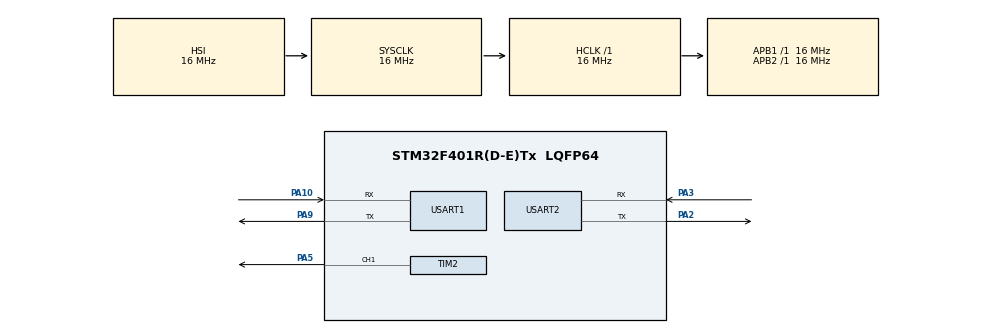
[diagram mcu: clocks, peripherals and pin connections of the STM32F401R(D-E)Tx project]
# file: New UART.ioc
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Mcu.Family=STM32F4
Mcu.Name=STM32F401R(D-E)Tx
Mcu.Package=LQFP64
NVIC.PriorityGroup=NVIC_PRIORITYGROUP_4
PA10.Mode=Asynchronous
PA10.Signal=USART1_RX
PA2.Mode=Asynchronous
PA2.Signal=USART2_TX
PA3.Mode=Asynchronous
PA3.Signal=USART2_RX
PA5.Signal=S_TIM2_CH1_ETR
PA9.Mode=Asynchronous
PA9.Signal=USART1_TX
ProjectManager.HeapSize=0x200
ProjectManager.StackSize=0x400
ProjectManager.TargetToolchain=STM32CubeIDE
RCC.AHBFreq_Value=16000000
RCC.APB1Freq_Value=16000000
RCC.APB2Freq_Value=16000000
RCC.CortexFreq_Value=16000000
RCC.HSE_VALUE=25000000
RCC.HSI_VALUE=16000000
RCC.LSE_VALUE=32768
RCC.SYSCLKFreq_VALUE=16000000
RCC.VCOOutputFreq_Value=192000000
SH.S_TIM2_CH1_ETR.0=TIM2_CH1,PWM Generation1 CH1
TIM2.Channel-PWM\ Generation1\ CH1=TIM_CHANNEL_1
TIM2.Period=255
USART1.VirtualMode=VM_ASYNC
USART2.VirtualMode=VM_ASYNC
board=custom

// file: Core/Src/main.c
/* USER CODE BEGIN Header */
/* USER CODE END Header */
#include "main.h"

/* USER CODE BEGIN PM */

#define MIN(X, Y) (((X) < (Y)) ? (X) : Y)
#define MAX(X, Y) ((X) > (Y) ? (X) : Y);

/* USER CODE END PM */

TIM_HandleTypeDef htim2;

UART_HandleTypeDef huart1;
UART_HandleTypeDef huart2;

void SystemClock_Config(void);
static void MX_GPIO_Init(void);
static void MX_USART1_UART_Init(void);
static void MX_TIM2_Init(void);
static void MX_USART2_UART_Init(void);

/* USER CODE BEGIN 0 */
uint8_t rx_buff[8];
float float1, float2;
extern TIM_HandleTypeDef htim2;

float rec[5] = {0, 0, 0, 0, 0};
float avg;
int count = 0;
char msg[50];
void set_pwm_duty_cycle(){

	avg = 0;
	for (int i = 0 ; i < 5 ; ++i) {
		avg += rec[i];
	}
	avg /= 5;

	float duty_cycle = 100 - MAX(0.0, MIN(100.0, (avg)));

    sprintf(msg, ", Duty cycle: %.2f\r\n", duty_cycle);

	int conv = (int)(duty_cycle * 2.55);

	__HAL_TIM_SET_COMPARE(&htim2, TIM_CHANNEL_1, conv);

}

/* USER CODE END 0 */

int main(void)
{

  /* MCU Configuration--------------------------------------------------------*/

  /* Reset of all peripherals, Initializes the Flash interface and the Systick. */
  HAL_Init();

  /* Configure the system clock */
  SystemClock_Config();

  /* Initialize all configured peripherals */
  MX_GPIO_Init();
  MX_USART1_UART_Init();
  MX_TIM2_Init();
  MX_USART2_UART_Init();
  /* USER CODE BEGIN 2 */
  HAL_TIM_PWM_Start(&htim2, TIM_CHANNEL_1);
  /* USER CODE END 2 */

  /* Infinite loop */
  /* USER CODE BEGIN WHILE */
  /* Infinite loop */
  /* USER CODE BEGIN WHILE */
  while (1)
  {
    /* USER CODE END WHILE */

    /* USER CODE BEGIN 3 */
    if(HAL_UART_Receive(&huart1, rx_buff, 8, 50)==HAL_OK) //if transfer is successful
    {
      __NOP(); //You need to toggle a breakpoint on this line!
      sprintf(msg, "8 Bits Received over UART1\r\n");
      HAL_UART_Transmit(&huart2, (uint8_t *)msg, strlen(msg), HAL_MAX_DELAY);
    } else {
      __NOP();
    }
//    HAL_UART_Transmit(&huart2, (uint8_t *)msg1, strlen(msg1), HAL_MAX_DELAY);

    memcpy(&float1, &rx_buff[0], sizeof(float));
    memcpy(&float2, &rx_buff[4], sizeof(float));

    count %= 5;
    rec[count] = MIN(float1, float2);
    sprintf(msg, "Min distance: %.2f", rec[count]);
    HAL_UART_Transmit(&huart2, (uint8_t *)msg, strlen(msg), HAL_MAX_DELAY);
    count++;

    set_pwm_duty_cycle();
    HAL_UART_Transmit(&huart2, (uint8_t *)msg, strlen(msg), HAL_MAX_DELAY);
  }
  /* USER CODE END 3 */
}

void SystemClock_Config(void)
{
  RCC_OscInitTypeDef RCC_OscInitStruct = {0};
  RCC_ClkInitTypeDef RCC_ClkInitStruct = {0};

  /** Configure the main internal regulator output voltage
  */
  __HAL_RCC_PWR_CLK_ENABLE();
  __HAL_PWR_VOLTAGESCALING_CONFIG(PWR_REGULATOR_VOLTAGE_SCALE2);

  /** Initializes the RCC Oscillators according to the specified parameters
  * in the RCC_OscInitTypeDef structure.
  */
  RCC_OscInitStruct.OscillatorType = RCC_OSCILLATORTYPE_HSI;
  RCC_OscInitStruct.HSIState = RCC_HSI_ON;
  RCC_OscInitStruct.HSICalibrationValue = RCC_HSICALIBRATION_DEFAULT;
  RCC_OscInitStruct.PLL.PLLState = RCC_PLL_NONE;
  if (HAL_RCC_OscConfig(&RCC_OscInitStruct) != HAL_OK)
  {
    Error_Handler();
  }

  /** Initializes the CPU, AHB and APB buses clocks
  */
  RCC_ClkInitStruct.ClockType = RCC_CLOCKTYPE_HCLK|RCC_CLOCKTYPE_SYSCLK
                              |RCC_CLOCKTYPE_PCLK1|RCC_CLOCKTYPE_PCLK2;
  RCC_ClkInitStruct.SYSCLKSource = RCC_SYSCLKSOURCE_HSI;
  RCC_ClkInitStruct.AHBCLKDivider = RCC_SYSCLK_DIV1;
  RCC_ClkInitStruct.APB1CLKDivider = RCC_HCLK_DIV1;
  RCC_ClkInitStruct.APB2CLKDivider = RCC_HCLK_DIV1;

  if (HAL_RCC_ClockConfig(&RCC_ClkInitStruct, FLASH_LATENCY_0) != HAL_OK)
  {
    Error_Handler();
  }
}

static void MX_TIM2_Init(void)
{

  TIM_MasterConfigTypeDef sMasterConfig = {0};
  TIM_OC_InitTypeDef sConfigOC = {0};

  htim2.Instance = TIM2;
  htim2.Init.Prescaler = 0;
  htim2.Init.CounterMode = TIM_COUNTERMODE_UP;
  htim2.Init.Period = 255;
  htim2.Init.ClockDivision = TIM_CLOCKDIVISION_DIV1;
  htim2.Init.AutoReloadPreload = TIM_AUTORELOAD_PRELOAD_DISABLE;
  if (HAL_TIM_PWM_Init(&htim2) != HAL_OK)
  {
    Error_Handler();
  }
  sMasterConfig.MasterOutputTrigger = TIM_TRGO_RESET;
  sMasterConfig.MasterSlaveMode = TIM_MASTERSLAVEMODE_DISABLE;
  if (HAL_TIMEx_MasterConfigSynchronization(&htim2, &sMasterConfig) != HAL_OK)
  {
    Error_Handler();
  }
  sConfigOC.OCMode = TIM_OCMODE_PWM1;
  sConfigOC.Pulse = 0;
  sConfigOC.OCPolarity = TIM_OCPOLARITY_HIGH;
  sConfigOC.OCFastMode = TIM_OCFAST_DISABLE;
  if (HAL_TIM_PWM_ConfigChannel(&htim2, &sConfigOC, TIM_CHANNEL_1) != HAL_OK)
  {
    Error_Handler();
  }
  HAL_TIM_MspPostInit(&htim2);

}

static void MX_USART1_UART_Init(void)
{

  huart1.Instance = USART1;
  huart1.Init.BaudRate = 115200;
  huart1.Init.WordLength = UART_WORDLENGTH_8B;
  huart1.Init.StopBits = UART_STOPBITS_1;
  huart1.Init.Parity = UART_PARITY_NONE;
  huart1.Init.Mode = UART_MODE_TX_RX;
  huart1.Init.HwFlowCtl = UART_HWCONTROL_NONE;
  huart1.Init.OverSampling = UART_OVERSAMPLING_16;
  if (HAL_UART_Init(&huart1) != HAL_OK)
  {
    Error_Handler();
  }

}

static void MX_USART2_UART_Init(void)
{

  huart2.Instance = USART2;
  huart2.Init.BaudRate = 115200;
  huart2.Init.WordLength = UART_WORDLENGTH_8B;
  huart2.Init.StopBits = UART_STOPBITS_1;
  huart2.Init.Parity = UART_PARITY_NONE;
  huart2.Init.Mode = UART_MODE_TX_RX;
  huart2.Init.HwFlowCtl = UART_HWCONTROL_NONE;
  huart2.Init.OverSampling = UART_OVERSAMPLING_16;
  if (HAL_UART_Init(&huart2) != HAL_OK)
  {
    Error_Handler();
  }

}

static void MX_GPIO_Init(void)
{

  /* GPIO Ports Clock Enable */
  __HAL_RCC_GPIOA_CLK_ENABLE();

}

void Error_Handler(void)
{
}
